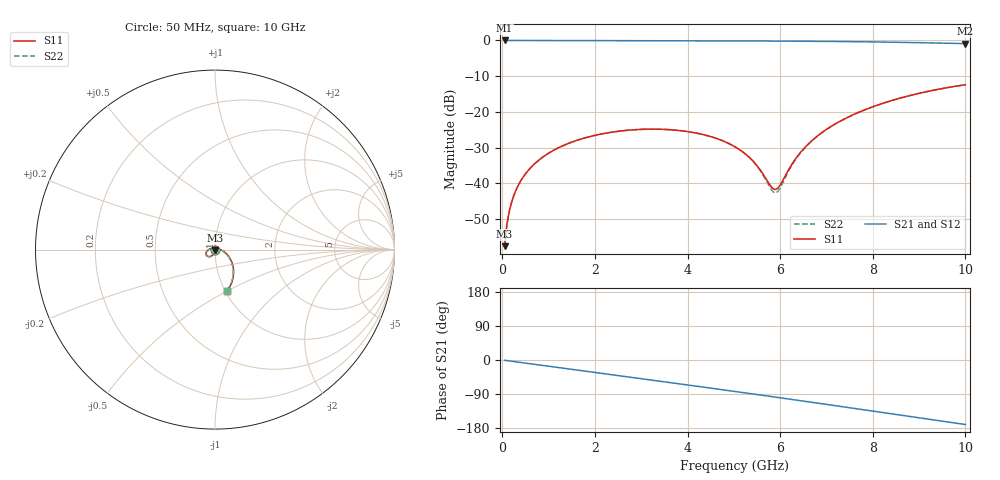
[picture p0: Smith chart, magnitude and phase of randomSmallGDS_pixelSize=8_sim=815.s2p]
! freq	dB(S11)	phase(S11)	dB(S12)	phase(S12)
!  dB(S21)	phase(S21)	dB(S22)	phase(S22)
!S-par simulation data
#  GHz  S  DB  R 50
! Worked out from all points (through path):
!   200 points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, 50 MHz to 10 GHz, reference 50 ohm
!   highest |S21| = 0.00 dB at 50 MHz (marker M1); lowest = -0.9 dB at 10 GHz (marker M2)
!   group delay of S21, straight-line fit = 47.2 ps
!   lowest |S11| = -57.6 dB at 50 MHz (marker M3), VSWR 1.00, Z = 50 - j0.132 ohm
!   |S11| at or under -10 dB: start of sweep to end of sweep
!   |S22| runs from -57.6 to -12.4 dB; largest |S21 - S12| = 0
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0.05  -57.60 -90.8  -0.00 -0.8  -0.00 -0.8  -57.58 -90.7
0.1  -51.49 -92.5  -0.00 -1.7  -0.00 -1.7  -51.48 -92.4
0.2  -45.34 -94.5  -0.00 -3.3  -0.00 -3.3  -45.34 -94.4
0.35  -40.44 -96.8  -0.00 -5.8  -0.00 -5.8  -40.44 -96.8
0.5  -37.36 -99.3  -0.01 -8.3  -0.01 -8.3  -37.36 -99.2
0.7  -34.50 -102.6  -0.01 -11.6  -0.01 -11.6  -34.50 -102.5
1  -31.57 -107.6  -0.02 -16.5  -0.02 -16.5  -31.57 -107.6
1.75  -27.41 -120.4  -0.04 -28.7  -0.04 -28.7  -27.41 -120.3
2.55  -25.36 -134.1  -0.06 -41.9  -0.06 -41.9  -25.36 -133.9
3.4  -24.86 -149.0  -0.08 -55.9  -0.08 -55.9  -24.86 -148.7
4.35  -26.40 -167.2  -0.10 -71.7  -0.10 -71.7  -26.40 -166.6
5.05  -29.97 175.7  -0.13 -83.5  -0.13 -83.5  -29.99 176.8
5.45  -34.28 158.6  -0.14 -90.3  -0.14 -90.3  -34.38 160.8
5.8  -40.87 112.7  -0.16 -96.2  -0.16 -96.2  -41.57 115.8
5.9  -41.74 83.2  -0.17 -98.0  -0.17 -98.0  -42.71 83.7
6  -40.50 53.7  -0.18 -99.7  -0.18 -99.7  -41.28 51.4
6.35  -32.84 8.7  -0.20 -105.8  -0.20 -105.8  -33.01 6.4
6.7  -27.88 -6.7  -0.23 -111.8  -0.23 -111.8  -27.96 -8.2
7.4  -21.90 -24.7  -0.31 -124.1  -0.31 -124.1  -21.93 -25.7
8.35  -17.05 -43.9  -0.48 -141.0  -0.48 -141.0  -17.07 -44.6
9.2  -14.23 -59.7  -0.67 -156.1  -0.67 -156.1  -14.24 -60.2
10  -12.39 -73.9  -0.89 -170.3  -0.89 -170.3  -12.40 -74.4
